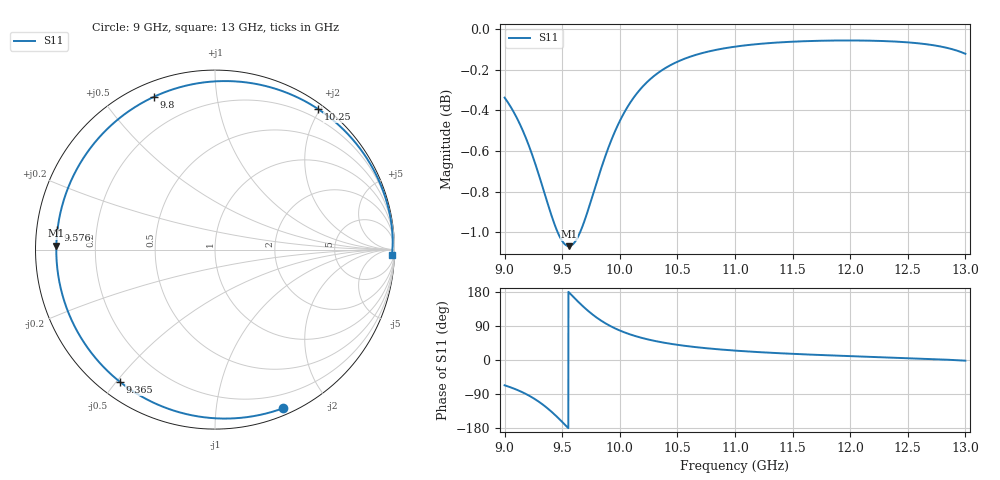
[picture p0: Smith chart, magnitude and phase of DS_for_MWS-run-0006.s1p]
! TOUCHSTONE file generated by CST DESIGN STUDIO
! Date and time: Tue Feb  4 17:06:48 2025
! Project name: C:\Work\MatlabApps\UnitCellOptimizationMatlab\CST\unitcell.cst
! Tree item: Tasks\Sweep1\SPara1\S-Parameters
! Header version: 2024
! Port assignment regex: !\s*Touchstone port\s*([0-9]+)\s*=\s*(CST MWS port|CST DES external port|CST DES block port)\s*(.+)\s* \(\"(.*)\"\)(\s*mode\s*([0-9]+))?.*
! Touchstone port assignment:
! Touchstone port 1 = CST DES external port 1 ("")
# GHz S MA R 50
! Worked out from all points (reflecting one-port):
!   4001 points, 9 GHz to 13 GHz, reference 50 ohm
!   lowest |S11| = -1.1 dB at 9.558 GHz (marker M1), VSWR 16.29, Z = 3.07 + j0.626 ohm
!   phase of S11 starts at -67 deg and turns -295 deg over the sweep
!   S11 on the Smith chart (normalised r, x): 9 GHz: 0.06, -1.52; 9.365 GHz: 0.06, -0.51; 9.576 GHz: 0.06, +0.06; 9.8 GHz: 0.06, +0.68; 10.25 GHz: 0.07, +1.97; 13 GHz: 25, -54
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9  0.9619 -66.8
9.04  0.9581 -70.8
9.106  0.9509 -78.5
9.218  0.9349 -95.1
9.295  0.9211 -109.6
9.365  0.9076 -125.6
9.43  0.8959 -142.8
9.466  0.8906 -153.2
9.5  0.8869 -163.4
9.558  0.8843 178.6
9.576  0.8846 172.9
9.631  0.8884 156.0
9.693  0.897 138.1
9.746  0.9066 124.3
9.8  0.9169 111.7
9.843  0.925 102.9
9.889  0.933 94.4
10  0.9492 77.8
10.118  0.9616 64.7
10.251  0.9712 53.8
10.367  0.9769 46.6
10.5  0.9816 40.0
10.721  0.9865 32.0
11  0.99 24.8
11.5  0.9928 16.3
12  0.9935 10.2
12.5  0.9924 4.9
13  0.986 -1.7
